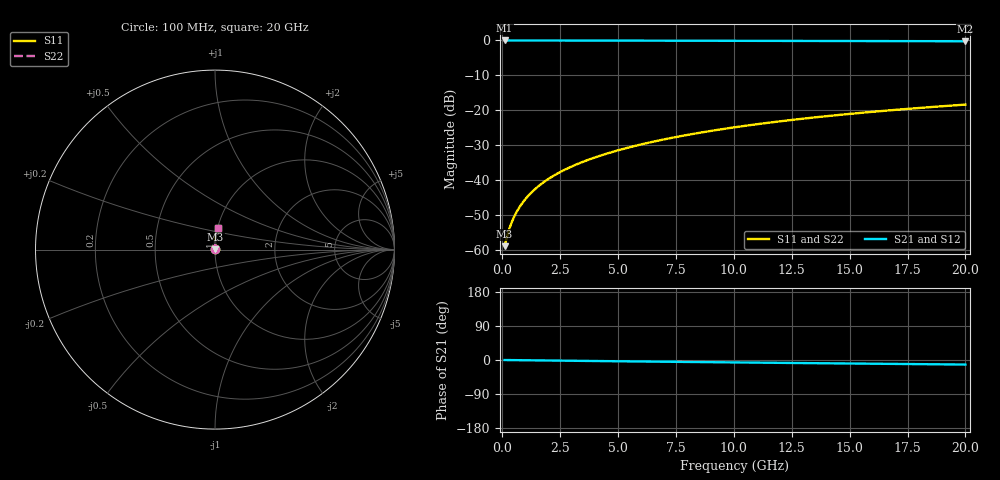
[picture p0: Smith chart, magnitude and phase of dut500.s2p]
! Touchstone file exported from HFSS 2024.1.0
!  File:  C:/UserFiles/LocalFiles/RDL_TSV_Batchsim/temp_RDL_bottom_500_1779687234.aedt
!  Generated:  01:36:17 PM May 25, 2026
!  Design:  RDL_bottom
!  Project:  temp_RDL_bottom_500_1779687234
!  Setup:  Setup1
!  Solution:  Sweep
! Variables:
!  dtsv = 10.80580581um
!  hbump = 3um
!  htsv = 84.53um
!  ldown = 160.98um
!  lrdl = 100um
!  p = 40
!  p1 = 40.69um
!  rhole = 1um
!  t = 450um
!  tdown = 3.52um
!  trdl = 3.915915916um
!  wdown = 22.04um
!  wrdl = 20um
# GHz S MA R 50.000000
! Terminal data exported
! Port[1] = RDL1_T1
! Port[2] = RDL1_T2
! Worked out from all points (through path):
!   200 points, 100 MHz to 20 GHz, reference 50 ohm
!   highest |S21| = -0.01 dB at 100 MHz (marker M1); lowest = -0.2 dB at 20 GHz (marker M2)
!   group delay of S21, straight-line fit = 1.65 ps
!   lowest |S11| = -59.0 dB at 100 MHz (marker M3), VSWR 1.00, Z = 50.1 + j0.0585 ohm
!   |S11| at or under -10 dB: start of sweep to end of sweep
!   |S22| runs from -59.0 to -18.4 dB; largest |S21 - S12| = 6e-15
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0.1  0.001125 31.3  0.999 -0.1  0.999 -0.1  0.001125 31.3
! Gamma 0 0 0 0
! Port Impedance 50 0 50 0
0.2  0.001523 48.7  0.999 -0.1  0.999 -0.1  0.001523 48.7
0.3  0.001978 57.8  0.9989 -0.2  0.9989 -0.2  0.001978 57.8
0.4  0.002445 63.5  0.9989 -0.3  0.9989 -0.3  0.002445 63.5
0.5  0.002916 67.5  0.9988 -0.4  0.9988 -0.4  0.002916 67.5
0.6  0.003391 70.5  0.9988 -0.4  0.9988 -0.4  0.003391 70.5
0.8  0.004354 74.7  0.9987 -0.6  0.9987 -0.6  0.004354 74.7
1.1  0.005828 78.8  0.9985 -0.8  0.9985 -0.8  0.005828 78.8
1.3  0.006826 80.6  0.9984 -0.9  0.9984 -0.9  0.006826 80.6
1.6  0.00834 82.6  0.9983 -1.1  0.9983 -1.1  0.00834 82.6
2.1  0.0109 84.8  0.9979 -1.4  0.9979 -1.4  0.0109 84.8
2.7  0.01403 86.6  0.9974 -1.8  0.9974 -1.8  0.01403 86.6
3.5  0.0183 88.0  0.9966 -2.4  0.9966 -2.4  0.0183 88.0
4.2  0.02213 88.9  0.9957 -2.8  0.9957 -2.8  0.02213 88.9
5  0.0266 89.5  0.9946 -3.4  0.9946 -3.4  0.0266 89.5
5.9  0.03177 89.9  0.9933 -3.9  0.9933 -3.9  0.03177 89.9
6.8  0.03706 90.1  0.9919 -4.5  0.9919 -4.5  0.03706 90.1
8.4  0.04674 90.0  0.9894 -5.4  0.9894 -5.4  0.04674 90.0
10.1  0.05731 89.5  0.9867 -6.4  0.9867 -6.4  0.05731 89.5
13.4  0.07827 87.7  0.9819 -8.3  0.9819 -8.3  0.07827 87.7
16.7  0.09939 85.6  0.9773 -10.2  0.9773 -10.2  0.09939 85.6
20  0.1204 83.3  0.973 -12.0  0.973 -12.0  0.1204 83.3
